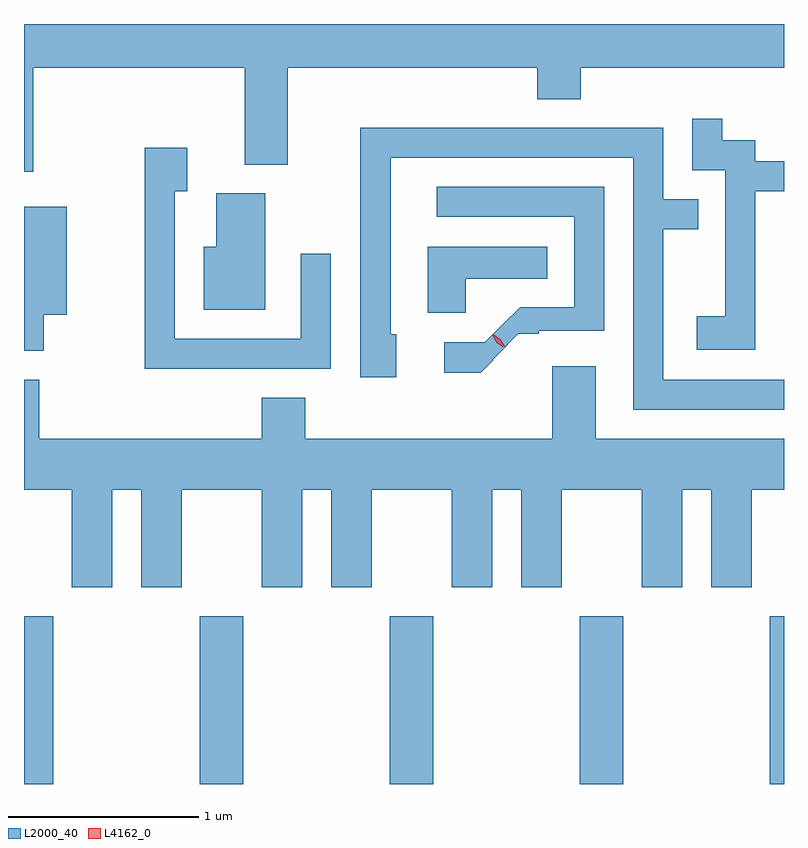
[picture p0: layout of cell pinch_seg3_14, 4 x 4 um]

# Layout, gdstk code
import gdstk
lib = gdstk.Library(unit=1e-6, precision=1e-09)
def R(c, l, rs):  # rectangles x0, y0, x1, y1
    for r in rs: c.add(gdstk.rectangle(r[:2], r[2:], *l))
def A(c, l, x, y, w, h, nx, ny, dx, dy):  # array of equal rectangles
    R(c, l, [(x+i*dx, y+j*dy, x+i*dx+w, y+j*dy+h) for i in range(nx) for j in range(ny)])
def P(c, l, *ps):  # polygons
    for p in ps: c.add(gdstk.Polygon(p, *l))
L2000_40 = (2000, 40)
L4162_0 = (4162, 0)

pinch_seg3_14 = lib.new_cell('pinch_seg3_14')
A(pinch_seg3_14, L2000_40, 829.776, 1164.426, 0.228, 0.883, 3, 1, 1, 0)
R(pinch_seg3_14, L2000_40, [(828.85,1164.426,829.004,1165.309), (832.776,1164.426,832.85,1165.309)])
P(pinch_seg3_14, L2000_40, [(828.899,1168.196),(830.011,1168.196),(830.011,1167.686),(830.239,1167.686),(830.239,1168.196),(831.551,1168.196),(831.551,1168.031),(831.779,1168.031),(831.779,1168.196),(832.85,1168.196),(832.85,1168.426),(828.85,1168.426),(828.85,1167.648),(828.899,1167.648)],
  [(832.699,1167.546),(832.85,1167.546),(832.85,1167.704),(832.699,1167.704),(832.699,1167.814),(832.524,1167.814),(832.524,1167.928),(832.366,1167.928),(832.366,1167.656),(832.541,1167.656),(832.541,1166.889),(832.391,1166.889),(832.391,1166.711),(832.699,1166.711)],
  [(832.85,1166.554),(832.214,1166.554),(832.214,1167.346),(832.398,1167.346),(832.398,1167.504),(832.214,1167.504),(832.214,1167.879),(830.621,1167.879),(830.621,1166.566),(830.809,1166.566),(830.809,1166.794),(830.779,1166.794),(830.779,1167.721),(832.056,1167.721),(832.056,1166.396),(832.85,1166.396)],
  [(830.464,1167.218),(830.306,1167.218),(830.306,1166.769),(829.644,1166.769),(829.644,1167.546),(829.709,1167.546),(829.709,1167.774),(829.486,1167.774),(829.486,1166.611),(830.464,1166.611)],
  [(831.319,1166.655),(831.317,1166.658),(831.396,1166.738),(831.394,1166.739),(831.452,1166.797),(831.559,1166.797),(831.559,1166.812),(831.904,1166.812),(831.904,1167.569),(831.023,1167.569),(831.023,1167.411),(831.746,1167.411),(831.746,1166.934),(831.461,1166.934),(831.368,1166.842),(831.367,1166.843),(831.276,1166.751),(831.063,1166.751),(831.063,1166.591),(831.255,1166.591)],
  [(830.119,1167.534),(829.861,1167.534),(829.861,1167.254),(829.796,1167.254),(829.796,1166.921),(830.119,1166.921)],
  [(828.954,1166.896),(829.074,1166.896),(829.074,1167.464),(828.85,1167.464),(828.85,1166.706),(828.954,1166.706)],
  [(831.174,1167.086),(831.603,1167.086),(831.603,1167.254),(830.976,1167.254),(830.976,1166.906),(831.174,1166.906)],
  [(829.314,1165.976),(829.466,1165.976),(829.466,1165.461),(829.679,1165.461),(829.679,1165.976),(830.101,1165.976),(830.101,1165.461),(830.314,1165.461),(830.314,1165.976),(830.466,1165.976),(830.466,1165.461),(830.679,1165.461),(830.679,1165.976),(831.101,1165.976),(831.101,1165.461),(831.314,1165.461),(831.314,1165.976),(831.466,1165.976),(831.466,1165.461),(831.679,1165.461),(831.679,1165.976),(832.101,1165.976),(832.101,1165.461),(832.314,1165.461),(832.314,1165.976),(832.466,1165.976),(832.466,1165.461),(832.679,1165.461),(832.679,1165.976),(832.85,1165.976),(832.85,1166.244),(831.859,1166.244),(831.859,1166.624),(831.631,1166.624),(831.631,1166.244),(830.329,1166.244),(830.329,1166.459),(830.101,1166.459),(830.101,1166.244),(828.929,1166.244),(828.929,1166.554),(828.85,1166.554),(828.85,1165.976),(829.101,1165.976),(829.101,1165.461),(829.314,1165.461)])
P(pinch_seg3_14, L4162_0, [(831.381,1166.727),(831.343,1166.753),(831.318,1166.792),(831.318,1166.793),(831.319,1166.793),(831.357,1166.767),(831.382,1166.727),(831.382,1166.727)],
  [(831.372,1166.726),(831.338,1166.749),(831.318,1166.784),(831.318,1166.785),(831.319,1166.785),(831.353,1166.762),(831.373,1166.727),(831.373,1166.726)])

lib.write_gds('pinch_seg3_14.gds')
